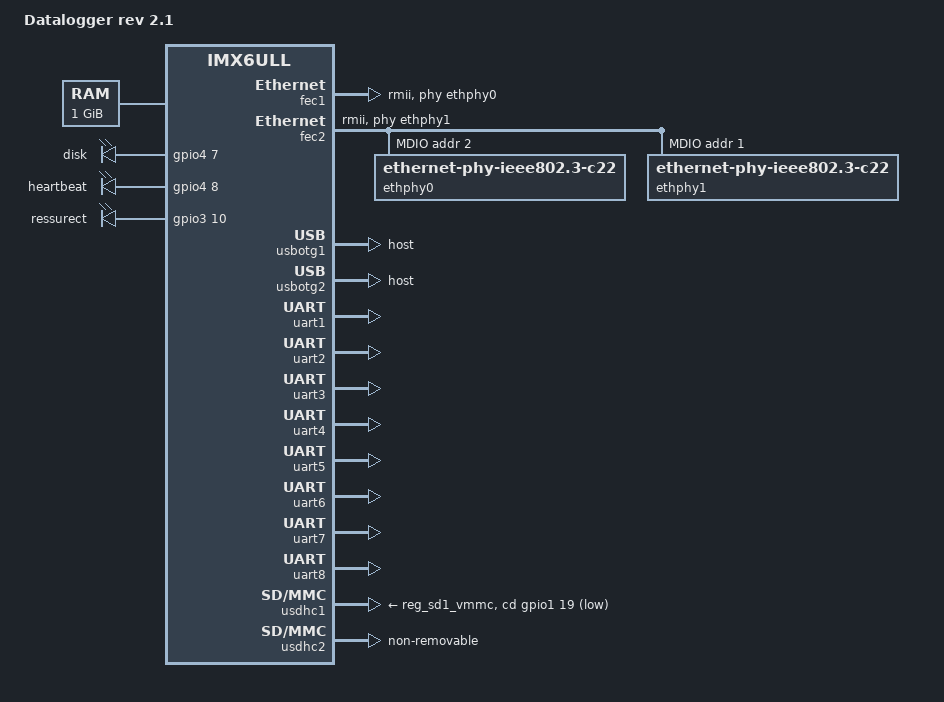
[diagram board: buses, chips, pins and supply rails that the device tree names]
// SPDX-License-Identifier: (GPL-2.0 OR MIT)
//
// Copyright (C) 2016 Freescale Semiconductor, Inc.

/dts-v1/;

#include "imx6ull.dtsi"
// #include "imx6ul-14x14-evk.dtsi"
#include "imx6ull-datalogger.dtsi"

/ {
	model = "Datalogger rev 2.1";
	compatible = "fsl,imx6ull-14x14-evk", "fsl,imx6ull";

	chosen {
		stdout-path = &uart1;
	};

	// 0x20000000 voor 512 MB
	memory {
    	reg = <0x10000000 0x40000000>;
	};

	leds: leds {
		compatible = "gpio-leds";
	};
	
	ressurect: ressurect {	
		compatible = "gpio-leds";
	};
};

&clks {
	assigned-clocks = <&clks IMX6UL_CLK_PLL3_PFD2>,
			  <&clks IMX6UL_CLK_PLL4_AUDIO_DIV>;
	assigned-clock-rates = <320000000>, <786432000>;
};

&fec1 {
	pinctrl-names = "default";
	pinctrl-0 = <&pinctrl_enet1>;
	phy-mode = "rmii";
	phy-handle = <&ethphy0>;
	status = "okay";
};

&fec2 {
	pinctrl-names = "default";
	pinctrl-0 = <&pinctrl_enet2>;
	phy-mode = "rmii";
	phy-handle = <&ethphy1>;
	status = "okay";

	mdio {
		#address-cells = <1>;
		#size-cells = <0>;

		ethphy0: ethernet-phy@2 {
			compatible = "ethernet-phy-ieee802.3-c22";
			reg = <2>;
		};

		ethphy1: ethernet-phy@1 {
			compatible = "ethernet-phy-ieee802.3-c22";
			reg = <1>;
		};
	};
};

// --



&iomuxc_snvs {
	pinctrl-names = "default_snvs";
        pinctrl-0 = <&pinctrl_hog_2>;
        imx6ul-evk {
		pinctrl_hog_2: hoggrp-2 {
                        fsl,pins = <
                                MX6ULL_PAD_SNVS_TAMPER0__GPIO5_IO00      0x80000000
                        >;
                };

		pinctrl_dvfs: dvfsgrp {
                        fsl,pins = <
                                MX6ULL_PAD_SNVS_TAMPER3__GPIO5_IO03      0x79
                        >;
                };

        };
};


&usbotg1 {
	dr_mode = "host";
	pinctrl-names = "default";
	pinctrl-0 = <&pinctrl_usb_otg1>;
	status = "okay";
};

&usbotg2 {
	dr_mode = "host";
	pinctrl-names = "default";
	status = "okay";
};

&usbphy1 {
	tx-d-cal = <0x5>;
};

&usbphy2 {
	tx-d-cal = <0x5>;
};

&uart1 {
	pinctrl-names = "default";
	pinctrl-0 = <&pinctrl_uart1>;
	status = "okay";
};

&uart2 {
	pinctrl-names = "default";
	pinctrl-0 = <&pinctrl_uart2>;
	// dmas = <&sdma 27 4 0>, <&sdma 28 4 0>;
	// dma-names = "rx", "tx";
	status = "okay";
};

&uart3 {
	pinctrl-names = "default";
	pinctrl-0 = <&pinctrl_uart3>;
	// dmas = <&sdma 29 4 0>, <&sdma 30 4 0>;
	// dma-names = "rx", "tx";
	status = "okay";
};

&uart4 {
	pinctrl-names = "default";
	pinctrl-0 = <&pinctrl_uart4>;
	// dmas = <&sdma 31 4 0>, <&sdma 32 4 0>;
	// dma-names = "rx", "tx";
	status = "okay";
};

&uart5 {
	pinctrl-names = "default";
	pinctrl-0 = <&pinctrl_uart5>;
	// dmas = <&sdma 33 4 0>, <&sdma 34 4 0>;
	// dma-names = "rx", "tx";
	status = "okay";
};


&uart6 {
	pinctrl-names = "default";
	pinctrl-0 = <&pinctrl_uart6>;
	status = "okay";
};

&uart7 {
	pinctrl-names = "default";
	pinctrl-0 = <&pinctrl_uart7>;
	status = "okay";
};

&uart8 {
	pinctrl-names = "default";
	pinctrl-0 = <&pinctrl_uart8>;
	status = "okay";
};

&usdhc1 {
	pinctrl-names = "default";
	pinctrl-0 = <&pinctrl_usdhc1>;
	cd-gpios = <&gpio1 19 GPIO_ACTIVE_LOW>;
	keep-power-in-suspend;
	enable-sdio-wakeup;
	vmmc-supply = <&reg_sd1_vmmc>;
	status = "okay";
};

&usdhc2 {
	pinctrl-names = "default";
	pinctrl-0 = <&pinctrl_usdhc2>;
	no-1-8-v;
	non-removable;
	keep-power-in-suspend;
	enable-sdio-wakeup;
	status = "okay";
};

&leds {
		pinctrl-0 = <&pinctrl_sysleds>;
		pinctrl-names = "default";
		disk {
			gpios = <&gpio4 7 GPIO_ACTIVE_HIGH>;
			default-state = "off";
			linux,default-trigger = "cpu";
	
		};
		heartbeat {
			gpios = <&gpio4 8 GPIO_ACTIVE_HIGH>;
			default-state = "off";
			linux,default-trigger = "heartbeat";
		};
};

&ressurect {
	gpio-controller;
	pinctrl-0 = <&pinctrl_ressurect>;
        pinctrl-names = "default";
	
	ressurect {
		gpio-hog;
		gpios = <&gpio3 10 GPIO_ACTIVE_HIGH>;
		output;
		label = "ressurect";		
	};
};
